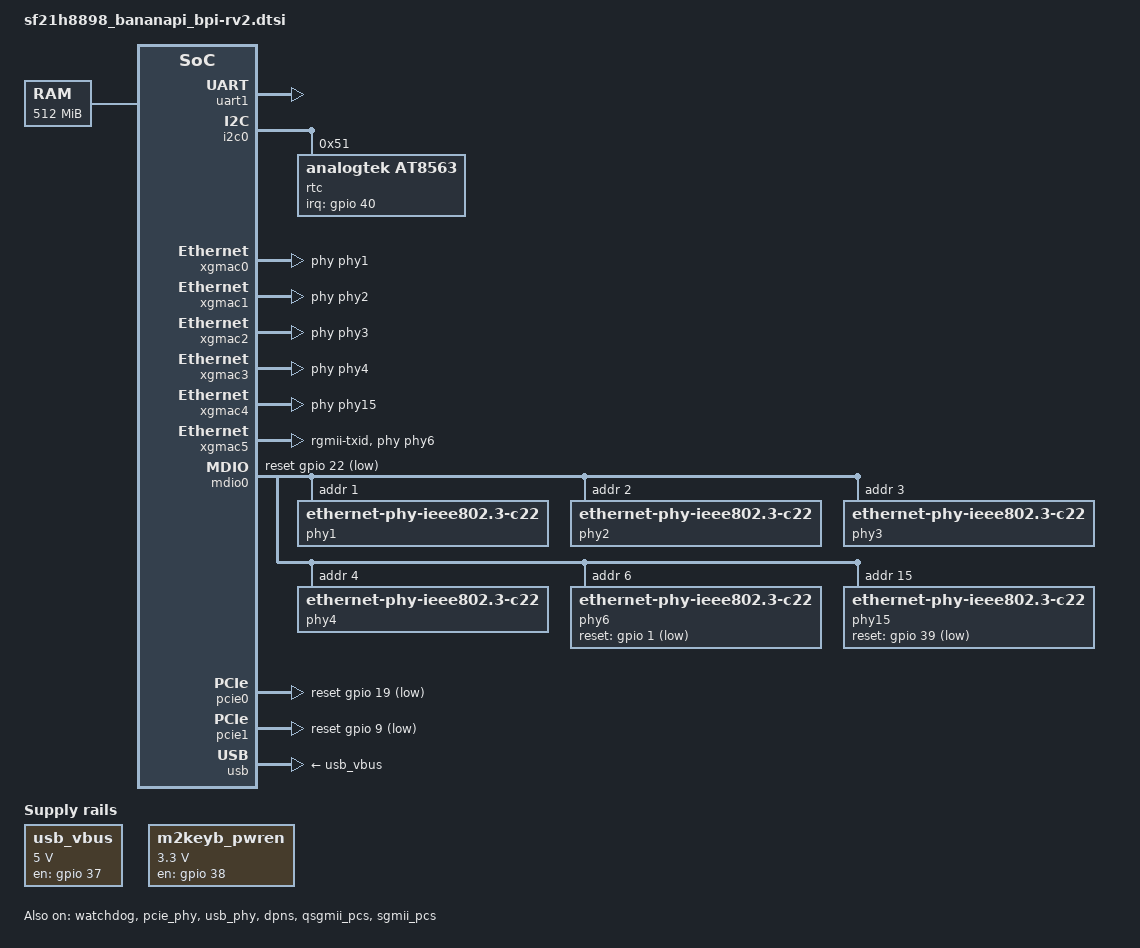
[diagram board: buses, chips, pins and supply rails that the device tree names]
// SPDX-License-Identifier: (GPL-2.0 OR MIT)
/dts-v1/;
#include "sf21h8898.dtsi"

/ {
	chosen {
		bootargs = "root=/dev/fit0 rootwait";
		stdout-path = "serial1:115200n8";
		rootdisk = <&rootdisk>;
	};

	memory@20000000 {
		device_type = "memory";
		reg = <0x0 0x20000000 0x0 0x20000000>;
	};

	usb_vbus: regulator@0 {
		compatible = "regulator-fixed";
		regulator-name = "usb_vbus";
		regulator-min-microvolt = <5000000>;
		regulator-max-microvolt = <5000000>;
		gpios = <&gpio 37 GPIO_ACTIVE_HIGH>;
		enable-active-high;
	};

	m2keyb_pwren: regulator@1 {
		compatible = "regulator-fixed";
		regulator-name = "m2keyb_pwren";
		regulator-min-microvolt = <3300000>;
		regulator-max-microvolt = <3300000>;
		gpios = <&gpio 38 GPIO_ACTIVE_HIGH>;
		enable-active-high;
		regulator-always-on;
	};
};

&spi0_pins {
	pinctrl-single,pins = <
		SPI0_TXD	FUNC_MODE0
		SPI0_RXD	FUNC_MODE0
		SPI0_CLK	FUNC_MODE0
		SPI0_HOLD	FUNC_MODE0
		SPI0_WP		FUNC_MODE0
	>;
};

&watchdog {
	status = "okay";
};

&uart1 {
	status = "okay";
};

&iomux {
	rtc_int_gpio: rtc-int-pins {
		pinctrl-single,pins = <PHY_INT GPIO_MODE>;
		// disable internal bias as it's externally (and weakly) pulled up
		pinctrl-single,bias-pullup = <0 SW_PU 0 SW_PU>;
		pinctrl-single,bias-pulldown = <0 SW_PD 0 SW_PD>;
	};
};

&i2c0 {
	status = "okay";

	rtc: rtc@51 {
		compatible = "analogtek,at8563", "nxp,pcf8563";
		reg = <0x51>;
		#clock-cells = <0>;
		interrupts-extended = <&gpio 40 IRQ_TYPE_LEVEL_LOW>;
		pinctrl-names = "default";
		pinctrl-0 = <&rtc_int_gpio>;
	};
};

&xgmac0 {
	status = "okay";
	phy-handle = <&phy1>;
	nvmem-cells = <&macaddr_factory_0 0>;
	nvmem-cell-names = "mac-address";
};

&xgmac1 {
	status = "okay";
	phy-handle = <&phy2>;
	nvmem-cells = <&macaddr_factory_0 0>;
	nvmem-cell-names = "mac-address";
};

&xgmac2 {
	status = "okay";
	phy-handle = <&phy3>;
	nvmem-cells = <&macaddr_factory_0 0>;
	nvmem-cell-names = "mac-address";
};

&xgmac3 {
	status = "okay";
	phy-handle = <&phy4>;
	nvmem-cells = <&macaddr_factory_0 0>;
	nvmem-cell-names = "mac-address";
};

&xgmac4 {
	status = "okay";
	phy-handle = <&phy15>;
	nvmem-cells = <&macaddr_factory_0 1>;
	nvmem-cell-names = "mac-address";
	mac-address-increment = <1>;
	/delete-property/ pinctrl-0;
};

&xgmac5 {
	status = "okay";
	tx-internal-delay-ps = <2499>;
	rx-internal-delay-ps = <1519>;
	phy-mode = "rgmii-txid";
	phy-handle = <&phy6>;
	nvmem-cells = <&macaddr_factory_0 0>;
	nvmem-cell-names = "mac-address";
};

&mdio0 {
	reset-gpios = <&gpio 22 GPIO_ACTIVE_LOW>;
	reset-delay-us = <10000>;
	reset-post-delay-us = <100000>;

	phy1: ethernet-phy@1 {
		compatible = "ethernet-phy-ieee802.3-c22";
		reg = <0x1>;
	};

	phy2: ethernet-phy@2 {
		compatible = "ethernet-phy-ieee802.3-c22";
		reg = <0x2>;
	};

	phy3: ethernet-phy@3 {
		compatible = "ethernet-phy-ieee802.3-c22";
		reg = <0x3>;
	};

	phy4: ethernet-phy@4 {
		compatible = "ethernet-phy-ieee802.3-c22";
		reg = <0x4>;
	};

	phy6: ethernet-phy@6 {
		compatible = "ethernet-phy-ieee802.3-c22";
		reg = <0x6>;
		reset-gpios = <&gpio 1 GPIO_ACTIVE_LOW>;
		reset-assert-us = <10000>;
		reset-deassert-us = <100000>;
	};

	phy15: ethernet-phy@f {
		compatible = "ethernet-phy-ieee802.3-c22";
		reg = <0xf>;
		reset-gpios = <&gpio 39 GPIO_ACTIVE_LOW>;
		reset-assert-us = <10000>;
		reset-deassert-us = <100000>;
	};
};

&pcie_phy {
	status = "okay";
};

/*
 * M.2 Key B slot. Other GPIO pins connected to the slot:
 *  GPIO0: WAKEUP
 *  GPIO8: W_DISABLE
 *  GPIO10: CLKREQ_N
 *  GPIO38: FULL_CARD_POFF
 */
&pcie0 {
	reset-gpios = <&gpio 19 GPIO_ACTIVE_LOW>;
	status = "okay";
};

/*
 * MiniPCIE slot. Other GPIO pins connected to the slot:
 *  GPIO11: PEWAKE
 *  GPIO12: CLKREQ_N
 */
&pcie1 {
	reset-gpios = <&gpio 9 GPIO_ACTIVE_LOW>;
	status = "okay";
};

&usb_phy {
	status = "okay";
};

&usb {
	vbus-supply = <&usb_vbus>;
	status = "okay";
};

&dpns {
	status = "okay";
};

&edma {
	status = "okay";
};

&qsgmii_pcs {
	status = "okay";
};

&sgmii_pcs {
	status = "okay";
};
